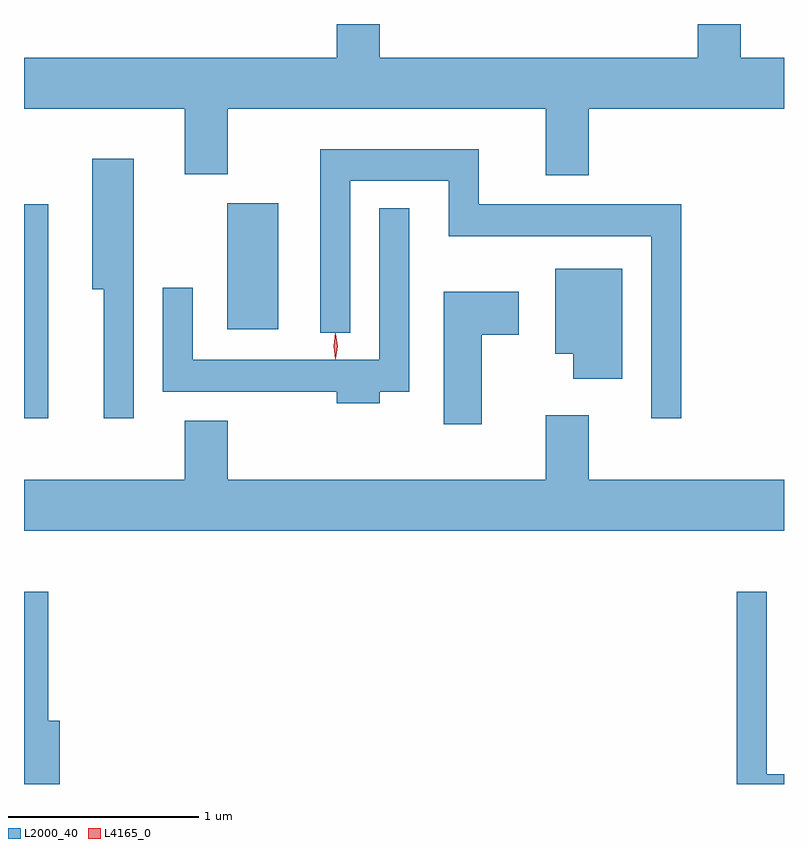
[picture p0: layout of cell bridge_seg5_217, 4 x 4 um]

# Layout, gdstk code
import gdstk
lib = gdstk.Library(unit=1e-6, precision=1e-09)
def R(c, l, rs):  # rectangles x0, y0, x1, y1
    for r in rs: c.add(gdstk.rectangle(r[:2], r[2:], *l))
def P(c, l, *ps):  # polygons
    for p in ps: c.add(gdstk.Polygon(p, *l))
L2000_40 = (2000, 40)
L4165_0 = (4165, 0)

bridge_seg5_217 = lib.new_cell('bridge_seg5_217')
R(bridge_seg5_217, L2000_40, [(1329.376,1428.528,1329.504,1429.654), (1330.446,1428.996,1330.714,1429.659)])
P(bridge_seg5_217, L2000_40, [(1332.349,1430.156),(1333.376,1430.156),(1333.376,1430.424),(1333.149,1430.424),(1333.149,1430.602),(1332.921,1430.602),(1332.921,1430.424),(1331.249,1430.424),(1331.249,1430.602),(1331.021,1430.602),(1331.021,1430.424),(1329.376,1430.424),(1329.376,1430.156),(1330.221,1430.156),(1330.221,1429.811),(1330.449,1429.811),(1330.449,1430.156),(1332.121,1430.156),(1332.121,1429.806),(1332.349,1429.806)],
  [(1332.834,1429.654),(1331.769,1429.654),(1331.769,1429.944),(1330.936,1429.944),(1330.936,1428.978),(1331.094,1428.978),(1331.094,1429.776),(1331.611,1429.776),(1331.611,1429.486),(1332.676,1429.486),(1332.676,1428.528),(1332.834,1428.528)],
  [(1329.954,1429.894),(1329.736,1429.894),(1329.736,1429.206),(1329.796,1429.206),(1329.796,1428.528),(1329.954,1428.528)],
  [(1331.249,1428.666),(1331.404,1428.666),(1331.404,1429.633),(1331.246,1429.633),(1331.246,1428.834),(1330.264,1428.834),(1330.264,1429.213),(1330.106,1429.213),(1330.106,1428.666),(1331.021,1428.666),(1331.021,1428.606),(1331.249,1428.606)],
  [(1332.524,1429.314),(1332.171,1429.314),(1332.171,1428.866),(1332.266,1428.866),(1332.266,1428.736),(1332.524,1428.736)],
  [(1331.784,1428.966),(1331.979,1428.966),(1331.979,1429.194),(1331.586,1429.194),(1331.586,1428.496),(1331.784,1428.496)],
  [(1333.376,1428.204),(1332.349,1428.204),(1332.349,1428.544),(1332.121,1428.544),(1332.121,1428.204),(1330.449,1428.204),(1330.449,1428.514),(1330.221,1428.514),(1330.221,1428.204),(1329.376,1428.204),(1329.376,1427.936),(1333.376,1427.936)],
  [(1333.376,1426.654),(1333.284,1426.654),(1333.284,1427.613),(1333.126,1427.613),(1333.126,1426.602),(1333.376,1426.602)],
  [(1329.564,1426.934),(1329.504,1426.934),(1329.504,1427.613),(1329.376,1427.613),(1329.376,1426.602),(1329.564,1426.602)])
P(bridge_seg5_217, L4165_0, [(1331.017,1428.839),(1331.017,1428.84),(1331.007,1428.906),(1331.016,1428.972),(1331.017,1428.973),(1331.017,1428.972),(1331.027,1428.906),(1331.018,1428.84)],
  [(1331.014,1428.837),(1331.005,1428.906),(1331.014,1428.976),(1331.015,1428.976),(1331.015,1428.976),(1331.025,1428.906),(1331.015,1428.837),(1331.015,1428.837)])

lib.write_gds('bridge_seg5_217.gds')
